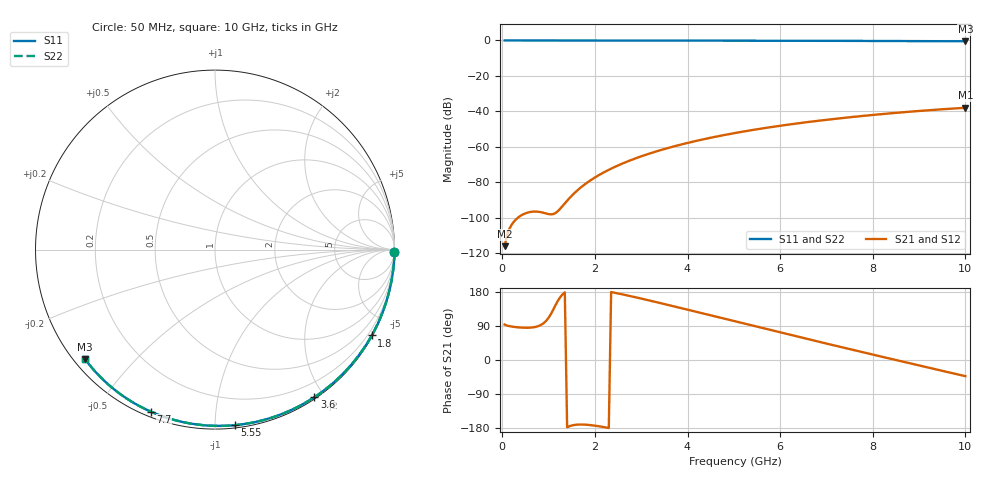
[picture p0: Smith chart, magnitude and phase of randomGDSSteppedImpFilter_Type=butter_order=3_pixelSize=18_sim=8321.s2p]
! freq	dB(S11)	phase(S11)	dB(S12)	phase(S12)
!  dB(S21)	phase(S21)	dB(S22)	phase(S22)
!S-par simulation data
#  GHz  S  DB  R 50
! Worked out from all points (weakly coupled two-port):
!   200 points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, 50 MHz to 10 GHz, reference 50 ohm
!   highest |S21| = -37.93 dB at 10 GHz (marker M1); lowest = -115.9 dB at 50 MHz (marker M2)
!   lowest |S11| = -0.5 dB at 10 GHz (marker M3), VSWR 36.61, Z = 1.55 - j18.2 ohm
!   |S11| at or under -10 dB: nowhere
!   |S22| runs from -0.5 to 0.0 dB; largest |S21 - S12| = 0
!   S11 on the Smith chart (normalised r, x): 50 MHz: open; 1.8 GHz: 0.03, -3.91; 3.6 GHz: 0.02, -1.88; 5.55 GHz: 0.02, -1.12; 7.7 GHz: 0.02, -0.68; 10 GHz: 0.03, -0.36
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0.05  -0.00 -0.8  -115.91 93.6  -115.91 93.6  -0.00 -0.8
0.45  -0.01 -7.3  -97.98 85.2  -97.98 85.2  -0.01 -7.3
0.9  -0.02 -14.5  -97.15 97.9  -97.15 97.9  -0.02 -14.5
1.75  -0.04 -27.9  -81.70 -170.4  -81.70 -170.4  -0.04 -27.9
1.8  -0.04 -28.7  -80.71 -170.7  -80.71 -170.7  -0.04 -28.7
1.85  -0.04 -29.5  -79.78 -171.2  -79.78 -171.2  -0.04 -29.5
2  -0.04 -31.8  -77.21 -173.3  -77.21 -173.3  -0.04 -31.8
2.15  -0.04 -34.1  -74.92 -176.1  -74.92 -176.1  -0.04 -34.1
2.35  -0.05 -37.2  -72.22 179.4  -72.22 179.4  -0.05 -37.2
2.55  -0.05 -40.3  -69.83 174.4  -69.83 174.4  -0.05 -40.3
2.95  -0.06 -46.4  -65.74 163.5  -65.74 163.5  -0.06 -46.3
3.4  -0.07 -53.1  -61.93 150.6  -61.93 150.6  -0.07 -53.1
3.6  -0.08 -56.0  -60.43 144.7  -60.43 144.7  -0.08 -56.0
4.3  -0.09 -66.2  -55.93 123.9  -55.93 123.9  -0.09 -66.2
5.05  -0.12 -76.7  -52.03 101.3  -52.03 101.3  -0.12 -76.7
5.55  -0.14 -83.6  -49.83 86.3  -49.83 86.3  -0.14 -83.5
6.1  -0.16 -91.0  -47.69 69.9  -47.69 69.9  -0.16 -90.9
6.7  -0.19 -98.8  -45.64 52.2  -45.64 52.2  -0.19 -98.8
7.7  -0.26 -111.6  -42.73 23.0  -42.73 23.0  -0.26 -111.5
8.35  -0.31 -119.7  -41.13 4.2  -41.13 4.2  -0.31 -119.6
9.2  -0.39 -130.2  -39.33 -20.0  -39.33 -20.0  -0.39 -130.1
10  -0.47 -140.0  -37.93 -42.7  -37.93 -42.7  -0.47 -139.9
